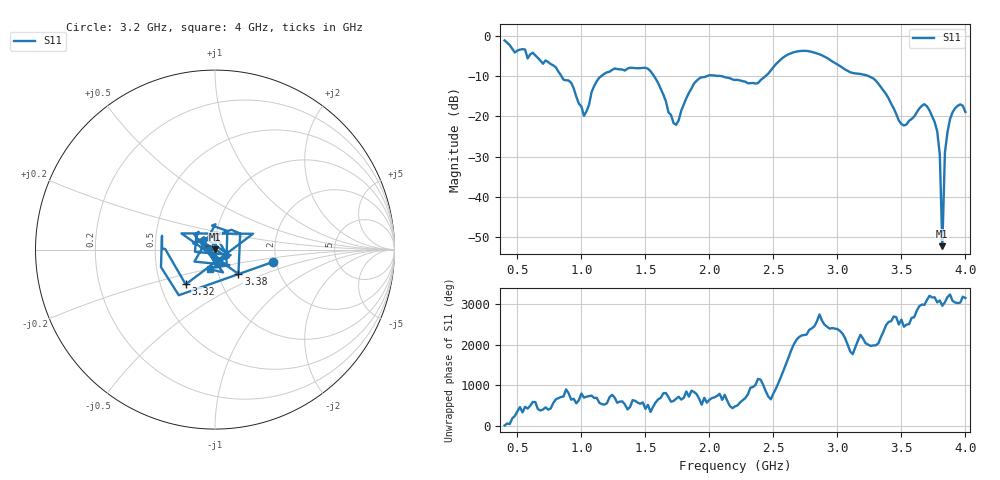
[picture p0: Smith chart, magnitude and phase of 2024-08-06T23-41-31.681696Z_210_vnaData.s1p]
!Created with skrf (http://scikit-rf.org).
# Hz S RI R 50.0
!freq ReS11 ImS11
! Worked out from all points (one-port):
!   181 points, 400 MHz to 4 GHz, reference 50 ohm
!   lowest |S11| = -52.2 dB at 3.82 GHz (marker M1), VSWR 1.00, Z = 50.1 + j0.226 ohm
!   |S11| at or under -10 dB: 1.567 GHz to 1.985 GHz (418.9 MHz wide, 23.6 % of centre); 2.084 GHz to 2.439 GHz (355 MHz wide, 15.7 % of centre); 3.24 GHz to end of sweep (the widest 3 of 4)
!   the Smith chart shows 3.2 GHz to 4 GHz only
!   S11 on the Smith chart (normalised r, x): 3.2 GHz: 1.92, -0.30; 3.32 GHz: 0.67, -0.28; 3.38 GHz: 1.25, -0.35; 4 GHz: 0.93, -0.21
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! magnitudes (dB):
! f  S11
! 400 MHz  -1.2
! 740 MHz  -6.5
! 860 MHz  -10.9
! 920 MHz  -11.7
! 1.02 GHz  -19.9
! 1.14 GHz  -10.4
! 1.3 GHz  -8.4
! 1.52 GHz  -8.2
! 1.72 GHz  -21.7
! 1.76 GHz  -21.0
! 1.92 GHz  -10.6
! 2.2 GHz  -11.0
! 2.38 GHz  -11.8
! 2.66 GHz  -4.1
! 3.1 GHz  -9.1
! 3.2 GHz  -9.7
! 3.32 GHz  -11.9
! 3.38 GHz  -14.5
! 3.5 GHz  -21.9
! 3.56 GHz  -21.1
! 3.68 GHz  -17.0
! 3.78 GHz  -23.8
! 3.8 GHz  -29.5
! 3.82 GHz  -52.2
! 3.84 GHz  -29.0
! 3.86 GHz  -23.9
! 3.92 GHz  -18.0
! 4 GHz  -18.9
